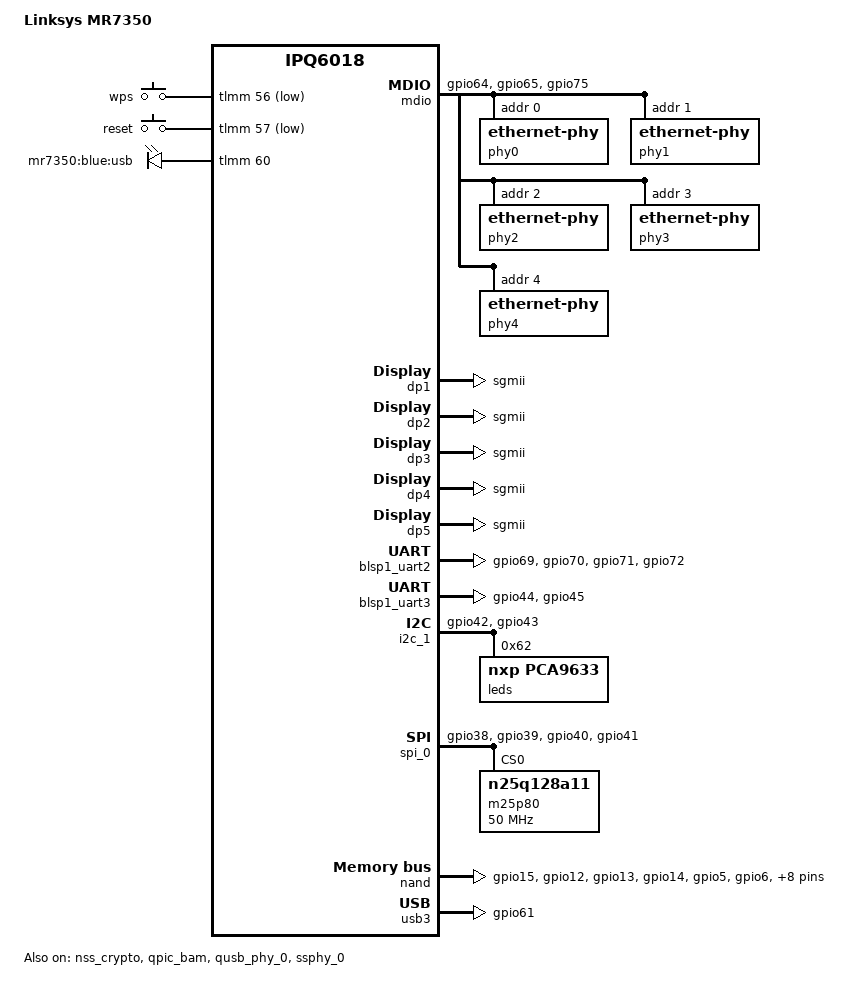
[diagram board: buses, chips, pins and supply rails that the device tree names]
// SPDX-License-Identifier: GPL-2.0-or-later OR MIT

/dts-v1/;

#include "qcom-ipq6018.dtsi"
#include "qcom-ipq6018-rpm-regulator.dtsi"
#include "qcom-ipq6018-cpr-regulator.dtsi"
#include "qcom-ipq6018-cp-cpu.dtsi"
#include <dt-bindings/input/input.h>
#include <dt-bindings/gpio/gpio.h>

/ {
	#address-cells = <0x2>;
	#size-cells = <0x2>;
	model = "Linksys MR7350";
	compatible = "linksys,mr7350", "qcom,ipq6018";
	interrupt-parent = <&intc>;
	qcom,msm-id = <0x192 0x0>;

	aliases {
		led-boot = &led_blue;
		led-failsafe = &led_red;
		led-running = &led_blue;
		led-upgrade = &led_blue;
		serial0 = &blsp1_uart3;
		serial1 = &blsp1_uart2;

		ethernet0 = "/soc/dp1";
		ethernet1 = "/soc/dp2";
		ethernet2 = "/soc/dp3";
		ethernet3 = "/soc/dp4";
		ethernet4 = "/soc/dp5";
	};

	chosen {
		bootargs-append = " root=/dev/ubiblock0_0 swiotlb=1 coherent_pool=2M";
	};

	soc {
		mdio: mdio@90000 {
			pinctrl-0 = <&mdio_pins>;
			pinctrl-names = "default";
			phy-reset-gpio = <&tlmm 75 0>;
			status = "ok";

			phy0: ethernet-phy@0 {
				reg = <0>;
			};
			phy1: ethernet-phy@1 {
				reg = <1>;
			};
			phy2: ethernet-phy@2 {
				reg = <2>;
			};
			phy3: ethernet-phy@3 {
				reg = <3>;
			};
			phy4: ethernet-phy@4 {
				reg = <4>;
			};
		};

		ess-switch@3a000000 {
			switch_cpu_bmp = <0x1>;  /* cpu port bitmap */
			switch_lan_bmp = <0x1e>; /* lan port bitmap */
			switch_wan_bmp = <0x20>; /* wan port bitmap */
			switch_inner_bmp = <0xc0>; /*inner port bitmap*/
			switch_mac_mode = <0x0>; /* mac mode for uniphy 0*/
			switch_mac_mode1 = <0xff>; /* mac mode for uniphy 1*/
			switch_mac_mode2 = <0xff>; /* mac mode for uniphy 2*/

			qcom,port_phyinfo {
				port@0 {
					port_id = <1>;
					phy_address = <0>;
				};
				port@1 {
					port_id = <2>;
					phy_address = <1>;
				};
				port@2 {
					port_id = <3>;
					phy_address = <2>;
				};
				port@3 {
					port_id = <4>;
					phy_address = <3>;
				};
				port@4 {
					port_id = <5>;
					phy_address = <4>;
				};
			};
		};

		dp1 {
			device_type = "network";
			compatible = "qcom,nss-dp";
			qcom,id = <1>;
			reg = <0x3a001000 0x200>;
			qcom,mactype = <0>;
			local-mac-address = [000000000000];
			qcom,link-poll = <1>;
			qcom,phy-mdio-addr = <0>;
			phy-mode = "sgmii";
		};

		dp2 {
			device_type = "network";
			compatible = "qcom,nss-dp";
			qcom,id = <2>;
			reg = <0x3a001200 0x200>;
			qcom,mactype = <0>;
			local-mac-address = [000000000000];
			qcom,link-poll = <1>;
			qcom,phy-mdio-addr = <1>;
			phy-mode = "sgmii";
		};

		dp3 {
			device_type = "network";
			compatible = "qcom,nss-dp";
			qcom,id = <3>;
			reg = <0x3a001400 0x200>;
			qcom,mactype = <0>;
			local-mac-address = [000000000000];
			qcom,link-poll = <1>;
			qcom,phy-mdio-addr = <2>;
			phy-mode = "sgmii";
		};

		dp4 {
			device_type = "network";
			compatible = "qcom,nss-dp";
			qcom,id = <4>;
			reg = <0x3a001600 0x200>;
			qcom,mactype = <0>;
			local-mac-address = [000000000000];
			qcom,link-poll = <1>;
			qcom,phy-mdio-addr = <3>;
			phy-mode = "sgmii";
		};

		dp5 {
			device_type = "network";
			compatible = "qcom,nss-dp";
			qcom,id = <5>;
			reg = <0x3a001800 0x200>;
			qcom,mactype = <0>;
			local-mac-address = [000000000000];
			qcom,link-poll = <1>;
			qcom,phy-mdio-addr = <4>;
			phy-mode = "sgmii";
		};

		keys {
			compatible = "gpio-keys";
			pinctrl-0 = <&button_pins>;
			pinctrl-names = "default";

			wps {
				label = "wps";
				linux,code = <KEY_WPS_BUTTON>;
				gpios = <&tlmm 56 GPIO_ACTIVE_LOW>;
				linux,input-type = <1>;
				debounce-interval = <60>;
			};

			reset {
				label = "reset";
				linux,code = <KEY_RESTART>;
				gpios = <&tlmm 57 GPIO_ACTIVE_LOW>;
				linux,input-type = <1>;
				debounce-interval = <60>;
			};
		};

		leds {
			compatible = "gpio-leds";
			pinctrl-0 = <&leds_pins>;
			pinctrl-names = "default";

			usb {
				label = "mr7350:blue:usb";
				gpios = <&tlmm 60 GPIO_ACTIVE_HIGH>;
				linux,default-trigger = "usbport";
			};
		};
	};
};

&tlmm {
	i2c_1_pins: i2c_1_pins {
		mux {
			pins = "gpio42", "gpio43";
			function = "blsp2_i2c";
			drive-strength = <8>;
			bias-pull-down;
		};
	};

	uart_pins: uart_pins {
		mux {
			pins = "gpio44", "gpio45";
			function = "blsp2_uart";
			drive-strength = <8>;
			bias-pull-down;
		};
	};

	hsuart_pins: hsuart_pins {
		mux {
			pins = "gpio69", "gpio70", "gpio71", "gpio72";
			function = "blsp1_uart";
			drive-strength = <8>;
			bias-disable;
		};
	};

	spi_0_pins: spi_0_pins {
		mux {
			pins = "gpio38", "gpio39", "gpio40", "gpio41";
			function = "blsp0_spi";
			drive-strength = <8>;
			bias-pull-down;
		};
	};

	qpic_pins: qpic_pins {
		data_0 {
			pins = "gpio15";
			function = "qpic_pad0";
			drive-strength = <8>;
			bias-pull-down;
		};
		data_1 {
			pins = "gpio12";
			function = "qpic_pad1";
			drive-strength = <8>;
			bias-pull-down;
		};
		data_2 {
			pins = "gpio13";
			function = "qpic_pad2";
			drive-strength = <8>;
			bias-pull-down;
		};
		data_3 {
			pins = "gpio14";
			function = "qpic_pad3";
			drive-strength = <8>;
			bias-pull-down;
		};
		data_4 {
			pins = "gpio5";
			function = "qpic_pad4";
			drive-strength = <8>;
			bias-pull-down;
		};
		data_5 {
			pins = "gpio6";
			function = "qpic_pad5";
			drive-strength = <8>;
			bias-pull-down;
		};
		data_6 {
			pins = "gpio7";
			function = "qpic_pad6";
			drive-strength = <8>;
			bias-pull-down;
		};
		data_7 {
			pins = "gpio8";
			function = "qpic_pad7";
			drive-strength = <8>;
			bias-pull-down;
		};
		qpic_pad {
			pins = "gpio1", "gpio3", "gpio4",
			       "gpio10", "gpio11", "gpio17";
			function = "qpic_pad";
			drive-strength = <8>;
			bias-pull-down;
		};
	};

	button_pins: button_pins {
		wps_button {
			pins = "gpio56";
			function = "gpio";
			drive-strength = <8>;
			bias-pull-up;
		};

		reset_button {
			pins = "gpio57";
			function = "gpio";
			drive-strength = <8>;
			bias-pull-up;
		};
	};

	mdio_pins: mdio_pinmux {
		mux_0 {
			pins = "gpio64";
			function = "mdc";
			drive-strength = <8>;
			bias-pull-up;
		};
		mux_1 {
			pins = "gpio65";
			function = "mdio";
			drive-strength = <8>;
			bias-pull-up;
		};
		mux_2 {
			pins = "gpio75";
			function = "gpio";
			bias-pull-up;
		};
	};

	leds_pins: leds_pins {
		led_usb {
			pins = "gpio60";
			function = "gpio";
			drive-strength = <8>;
			bias-pull-down;
		};
	};

	usb_pwr_pins: usb_pwr_pins {
		mux {
			pins = "gpio61";
			function = "gpio";
			bias-disable;
			output-low;
		};
	};
};

&blsp1_uart2 {
	pinctrl-0 = <&hsuart_pins>;
	pinctrl-names = "default";
	dmas = <&blsp_dma 2>,
		<&blsp_dma 3>;
	dma-names = "tx", "rx";
	status = "ok";
};

&blsp1_uart3 {
	pinctrl-0 = <&uart_pins>;
	pinctrl-names = "default";
	status = "ok";
};

&i2c_1 {
	status = "ok";
	pinctrl-0 = <&i2c_1_pins>;
	pinctrl-1 = <&i2c_1_pins>;
	pinctrl-names = "i2c_active", "i2c_sleep";

	leds {
		compatible = "nxp,pca9633";
		#address-cells = <1>;
		#size-cells = <0>;
		reg = <0x62>;

		led_red: system_red {
			label = "red:system";
			reg = <0>;
		};

		led_green: system_green {
			label = "green:system";
			reg = <1>;
		};

		led_blue: system_blue {
			label = "blue:system";
			reg = <2>;
			linux,default-trigger = "default-on";
		};
	};
};

&spi_0 {
	pinctrl-0 = <&spi_0_pins>;
	pinctrl-names = "default";
	cs-select = <0>;
	status = "ok";

	m25p80@0 {
		#address-cells = <1>;
		#size-cells = <1>;
		reg = <0>;
		compatible = "n25q128a11";
		spi-max-frequency = <50000000>;
		use-default-sizes;
	};
};

&nand {
	pinctrl-0 = <&qpic_pins>;
	pinctrl-names = "default";
	status = "ok";
};

&nss_crypto {
	status = "ok";
};

&qpic_bam {
	status = "ok";
};

&qusb_phy_0 {
	status = "ok";
};

&ssphy_0 {
	status = "ok";
};

&usb3 {
	pinctrl-0 = <&usb_pwr_pins>;
	pinctrl-names = "default";
	status = "ok";
};
